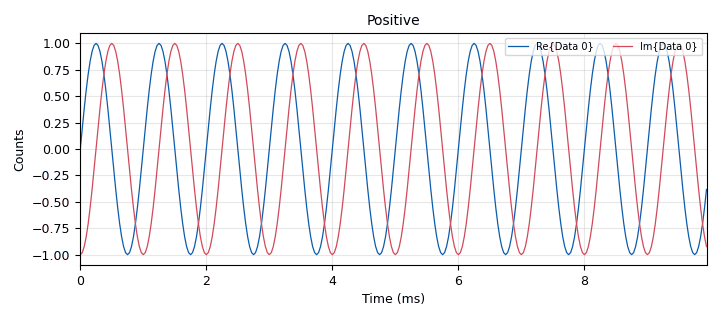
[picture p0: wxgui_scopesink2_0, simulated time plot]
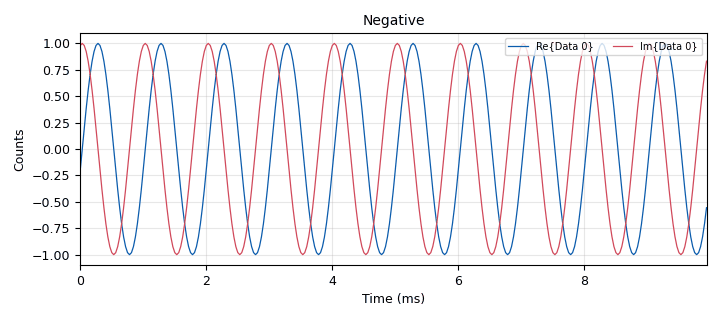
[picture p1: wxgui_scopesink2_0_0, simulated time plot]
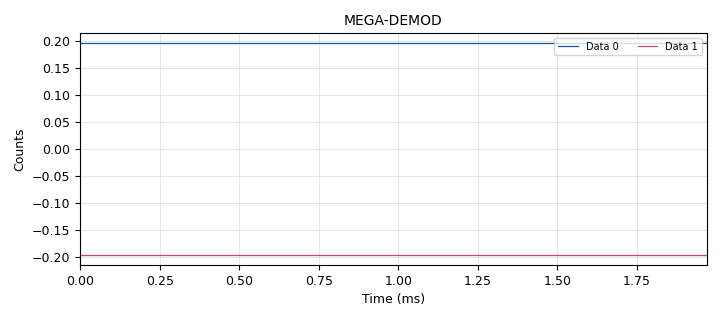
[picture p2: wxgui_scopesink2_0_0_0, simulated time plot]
<?xml version='1.0' encoding='utf-8'?>
<?grc format='1' created='3.7.11'?>
<flow_graph>
<block>
<key>options</key>
<param><key>id</key><value>top_block</value></param>
<param><key>generate_options</key><value>wx_gui</value></param>
</block>
<block>
<key>variable</key>
<param><key>id</key><value>samp_rate</value></param>
<param><key>value</key><value>32000</value></param>
</block>
<block>
<key>analog_quadrature_demod_cf</key>
<param><key>id</key><value>analog_quadrature_demod_cf_0</value></param>
<param><key>_enabled</key><value>0</value></param>
<param><key>gain</key><value>samp_rate/(2*math.pi*fsk_deviation_hz/8.0)</value></param>
</block>
<block>
<key>analog_quadrature_demod_cf</key>
<param><key>id</key><value>analog_quadrature_demod_cf_1</value></param>
<param><key>gain</key><value>1</value></param>
</block>
<block>
<key>analog_quadrature_demod_cf</key>
<param><key>id</key><value>analog_quadrature_demod_cf_1_0</value></param>
<param><key>gain</key><value>1</value></param>
</block>
<block>
<key>analog_sig_source_x</key>
<param><key>id</key><value>analog_sig_source_x_0</value></param>
<param><key>amp</key><value>1</value></param>
<param><key>freq</key><value>1000</value></param>
<param><key>offset</key><value>0</value></param>
<param><key>type</key><value>complex</value></param>
<param><key>samp_rate</key><value>samp_rate</value></param>
<param><key>waveform</key><value>analog.GR_COS_WAVE</value></param>
</block>
<block>
<key>analog_sig_source_x</key>
<param><key>id</key><value>analog_sig_source_x_0_0</value></param>
<param><key>amp</key><value>1</value></param>
<param><key>freq</key><value>-1000</value></param>
<param><key>offset</key><value>0</value></param>
<param><key>type</key><value>complex</value></param>
<param><key>samp_rate</key><value>samp_rate</value></param>
<param><key>waveform</key><value>analog.GR_COS_WAVE</value></param>
</block>
<block>
<key>blocks_throttle</key>
<param><key>id</key><value>blocks_throttle_0</value></param>
<param><key>samples_per_second</key><value>samp_rate</value></param>
<param><key>type</key><value>complex</value></param>
</block>
<block>
<key>blocks_throttle</key>
<param><key>id</key><value>blocks_throttle_0_0</value></param>
<param><key>samples_per_second</key><value>samp_rate</value></param>
<param><key>type</key><value>complex</value></param>
</block>
<block>
<key>wxgui_scopesink2</key>
<param><key>id</key><value>wxgui_scopesink2_0</value></param>
<param><key>ac_couple</key><value>False</value></param>
<param><key>num_inputs</key><value>1</value></param>
<param><key>samp_rate</key><value>samp_rate</value></param>
<param><key>t_scale</key><value>0</value></param>
<param><key>title</key><value>Positive</value></param>
<param><key>trig_mode</key><value>wxgui.TRIG_MODE_AUTO</value></param>
<param><key>type</key><value>complex</value></param>
<param><key>v_offset</key><value>0</value></param>
<param><key>v_scale</key><value>0</value></param>
<param><key>xy_mode</key><value>False</value></param>
<param><key>y_axis_label</key><value>Counts</value></param>
</block>
<block>
<key>wxgui_scopesink2</key>
<param><key>id</key><value>wxgui_scopesink2_0_0</value></param>
<param><key>ac_couple</key><value>False</value></param>
<param><key>num_inputs</key><value>1</value></param>
<param><key>samp_rate</key><value>samp_rate</value></param>
<param><key>t_scale</key><value>0</value></param>
<param><key>title</key><value>Negative</value></param>
<param><key>trig_mode</key><value>wxgui.TRIG_MODE_AUTO</value></param>
<param><key>type</key><value>complex</value></param>
<param><key>v_offset</key><value>0</value></param>
<param><key>v_scale</key><value>0</value></param>
<param><key>xy_mode</key><value>False</value></param>
<param><key>y_axis_label</key><value>Counts</value></param>
</block>
<block>
<key>wxgui_scopesink2</key>
<param><key>id</key><value>wxgui_scopesink2_0_0_0</value></param>
<param><key>ac_couple</key><value>False</value></param>
<param><key>num_inputs</key><value>2</value></param>
<param><key>samp_rate</key><value>samp_rate</value></param>
<param><key>t_scale</key><value>0</value></param>
<param><key>title</key><value>MEGA-DEMOD</value></param>
<param><key>trig_mode</key><value>wxgui.TRIG_MODE_AUTO</value></param>
<param><key>type</key><value>float</value></param>
<param><key>v_offset</key><value>0</value></param>
<param><key>v_scale</key><value>0</value></param>
<param><key>xy_mode</key><value>False</value></param>
<param><key>y_axis_label</key><value>Counts</value></param>
</block>
<connection><source_block_id>analog_quadrature_demod_cf_1</source_block_id><sink_block_id>wxgui_scopesink2_0_0_0</sink_block_id><source_key>0</source_key><sink_key>0</sink_key></connection>
<connection><source_block_id>analog_quadrature_demod_cf_1_0</source_block_id><sink_block_id>wxgui_scopesink2_0_0_0</sink_block_id><source_key>0</source_key><sink_key>1</sink_key></connection>
<connection><source_block_id>analog_sig_source_x_0</source_block_id><sink_block_id>blocks_throttle_0</sink_block_id><source_key>0</source_key><sink_key>0</sink_key></connection>
<connection><source_block_id>analog_sig_source_x_0_0</source_block_id><sink_block_id>blocks_throttle_0_0</sink_block_id><source_key>0</source_key><sink_key>0</sink_key></connection>
<connection><source_block_id>blocks_throttle_0</source_block_id><sink_block_id>analog_quadrature_demod_cf_1</sink_block_id><source_key>0</source_key><sink_key>0</sink_key></connection>
<connection><source_block_id>blocks_throttle_0</source_block_id><sink_block_id>wxgui_scopesink2_0</sink_block_id><source_key>0</source_key><sink_key>0</sink_key></connection>
<connection><source_block_id>blocks_throttle_0_0</source_block_id><sink_block_id>analog_quadrature_demod_cf_1_0</sink_block_id><source_key>0</source_key><sink_key>0</sink_key></connection>
<connection><source_block_id>blocks_throttle_0_0</source_block_id><sink_block_id>wxgui_scopesink2_0_0</sink_block_id><source_key>0</source_key><sink_key>0</sink_key></connection>
</flow_graph>
